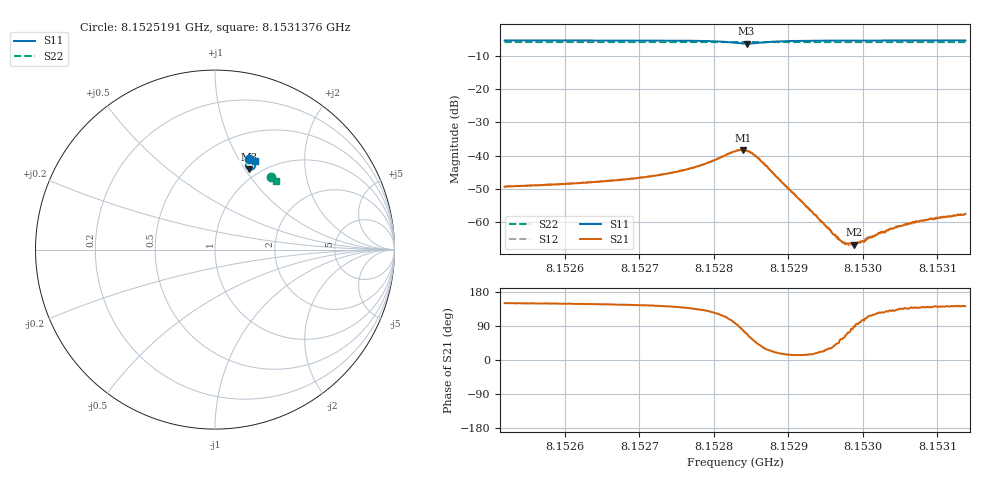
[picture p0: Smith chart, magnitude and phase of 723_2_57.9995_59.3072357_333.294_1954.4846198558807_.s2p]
#  HZ  S  RI  R  50.00
! Rohde & Schwarz Vector Network Analyzer
! Rohde-Schwarz,ZNB20-2Port,1311601062101988,3.16
! Created: UTC 3/21/2024, 1:22:46 AM
! freq[Hz]  re:S11  im:S11  re:S21  im:S21  re:S12  im:S12  re:S22  im:S22
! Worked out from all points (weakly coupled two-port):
!   401 points, 8.1525191 GHz to 8.1531376 GHz, reference 50 ohm
!   highest |S21| = -38.27 dB at 8.1528392 GHz (marker M1); lowest = -66.8 dB at 8.1529876 GHz (marker M2)
!   lowest |S11| = -6.3 dB at 8.1528438 GHz (marker M3), VSWR 2.88, Z = 44.5 + j52 ohm
!   |S11| at or under -10 dB: nowhere
!   |S22| runs from -5.9 to -5.8 dB; largest |S21 - S12| = 0.00033
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8.15251914e9  0.1912 0.5057  -0.00294 0.0017  -0.00298 0.00178  0.312 0.405
8.15262273e9  0.2002 0.5019  -0.0033 0.00205  -0.0033 0.00211  0.3173 0.4006
8.15268458e9  0.2063 0.4988  -0.00369 0.00251  -0.00364 0.00254  0.32 0.3981
8.15272632e9  0.2114 0.4954  -0.00403 0.00308  -0.00404 0.00317  0.3222 0.3964
8.15277734e9  0.2202 0.4863  -0.0048 0.00491  -0.00476 0.00501  0.3248 0.3938
8.15282837e9  0.2143 0.4503  -0.00145 0.0115  -0.00146 0.0116  0.3264 0.3905
8.15283919e9  0.1965 0.4447  0.00248 0.012  0.00255 0.012  0.3261 0.3901
8.15284383e9  0.1878 0.4465  0.00403 0.011  0.00432 0.0111  0.326 0.3902
8.15285465e9  0.1735 0.4602  0.00661 0.0077  0.00673 0.00783  0.3262 0.3905
8.15286547e9  0.1714 0.4756  0.00645 0.00434  0.00674 0.00437  0.3269 0.3906
8.15293196e9  0.1964 0.4981  0.00138 0.000373  0.00139 0.00039  0.3313 0.3884
8.1529536e9  0.2011 0.4983  0.000703 0.000388  0.000738 0.000381  0.3324 0.3875
8.15296752e9  0.2034 0.4982  0.0004 0.000394  0.000383 0.00039  0.3331 0.3869
8.15297216e9  0.2041 0.498  0.000286 0.000409  0.000298 0.000407  0.3334 0.3867
8.1529768e9  0.2049 0.4981  0.000194 0.000423  0.000197 0.000444  0.3337 0.3865
8.15298298e9  0.2058 0.4979  0.000117 0.000458  0.000101 0.000453  0.3339 0.3861
8.15298762e9  0.2065 0.4978  1.11e-05 0.000456  3.38e-05 0.000459  0.3341 0.386
8.15300153e9  0.2082 0.4973  -0.000119 0.000488  -0.000139 0.00048  0.3347 0.3855
8.15303555e9  0.2121 0.4966  -0.000512 0.000592  -0.000511 0.000594  0.3364 0.3839
8.15307111e9  0.2157 0.4955  -0.000763 0.000696  -0.000745 0.000687  0.3382 0.3823
8.15312986e9  0.2207 0.4937  -0.001 0.00079  -0.001 0.000813  0.3408 0.3796
8.15313759e9  0.2215 0.4935  -0.00105 0.000821  -0.00102 0.000798  0.3413 0.3796
